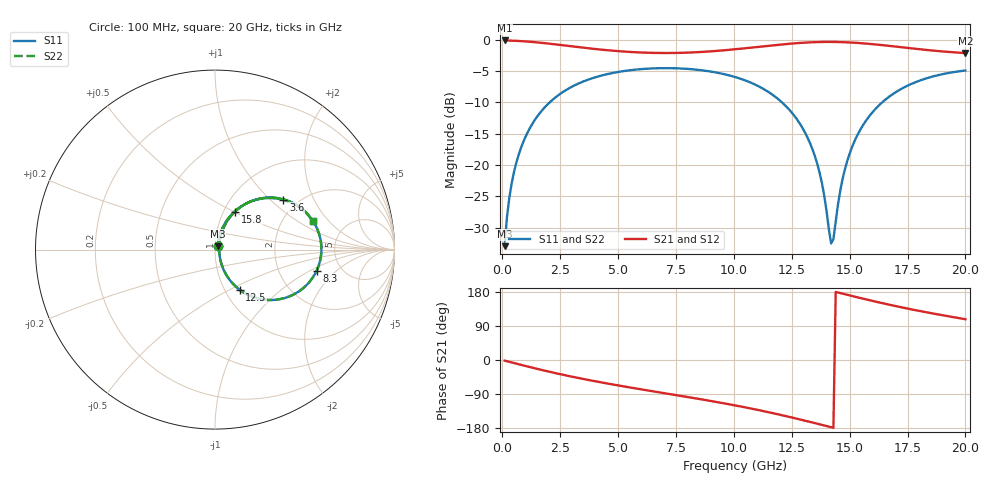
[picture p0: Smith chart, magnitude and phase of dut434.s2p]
! Touchstone file exported from HFSS 2026.1.0
!  File:  C:/ffzhzh/LocalFiles/Ansys_Project_Files/temp_train_TSV_RDL_434_1783097675_53076.aedt
!  Generated:  01:06:49 AM Jul  4, 2026
!  Design:  TSV_RDL
!  Project:  temp_train_TSV_RDL_434_1783097675_53076
! Variables:
!  h_bsmrdl = 5.33um
!  h_ox = 20um
!  h_rdl = 5um
!  h_sub = 70.5um
!  h_tmrdl = 5.68um
!  h_tsv = 70.5um
!  h_via = 3um
!  l_bsmrdl = 100.58um
!  l_sub = 4387.65um
!  l_tmrdl = 896.42um
!  m_sub = 200um
!  pitch = 59.1um
!  r_tsv = 8.34um
!  s_tmrdl = 10um
!  w_bsmrdl = 11.41um
!  w_sub = 500um
!  w_tmrdl = 22um
!  x_tsv_center1 = 907.42um
!  x_tsv_center2 = 1019.41um
!  x_tsv_center3 = 1937.83um
!  x_tsv_center4 = 2049.82um
!  x_tsv_center5 = 2968.24um
!  x_tsv_center6 = 3080.23um
# GHz S MA R 50.000000
! Terminal data exported
! Port[1] = TM_RDL1_1_T1
! Port[2] = TM_RDL5_1_T1
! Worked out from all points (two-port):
!   200 points, 100 MHz to 20 GHz, reference 50 ohm
!   highest |S21| = -0.12 dB at 100 MHz (marker M1); lowest = -2.1 dB at 20 GHz (marker M2)
!   |S21| within 3 dB of the highest: start of sweep to end of sweep
!   lowest |S11| = -33.0 dB at 100 MHz (marker M3), VSWR 1.05, Z = 51.4 + j1.8 ohm
!   |S11| at or under -10 dB: start of sweep to 2.049 GHz; 12.08 GHz to 16.41 GHz (4.33 GHz wide, 30.4 % of centre)
!   |S22| runs from -33.0 to -4.5 dB; largest |S21 - S12| = 4e-14
!   S11 on the Smith chart (normalised r, x): 100 MHz: 1.03, +0.04; 3.6 GHz: 1.69, +1.21; 8.3 GHz: 3.30, -1.16; 12.5 GHz: 1.17, -0.56; 15.8 GHz: 1.13, +0.51; 20 GHz: 2.93, +1.36
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0.1  0.02249 51.2  0.9862 -1.6  0.9862 -1.6  0.02249 51.2
! Gamma 0 0 0 0
! Port Impedance 50 0 50 0
0.2  0.03794 64.7  0.9852 -3.2  0.9852 -3.2  0.03794 64.7
0.4  0.07055 71.3  0.9826 -6.4  0.9826 -6.4  0.07055 71.3
1  0.1675 68.5  0.9693 -15.8  0.9693 -15.8  0.1675 68.5
2  0.3102 55.9  0.9312 -30.5  0.9312 -30.5  0.3102 55.9
3.5  0.4642 37.2  0.8634 -50.1  0.8634 -50.1  0.4642 37.2
3.6  0.4719 36.0  0.8592 -51.3  0.8592 -51.3  0.4719 36.0
6.8  0.5923 2.9  0.7833 -85.5  0.7833 -85.5  0.5923 3.0
8.3  0.5785 -11.7  0.793 -100.7  0.793 -100.7  0.5785 -11.6
10.1  0.5006 -30.4  0.8403 -120.3  0.8403 -120.3  0.5006 -30.4
11.5  0.3821 -46.5  0.8946 -137.8  0.8946 -137.8  0.3821 -46.5
12.5  0.2621 -58.5  0.9317 -151.7  0.9317 -151.7  0.2622 -58.5
13.4  0.1328 -66.6  0.9543 -165.0  0.9543 -165.0  0.1328 -66.5
13.8  0.0722 -63.9  0.9591 -171.1  0.9591 -171.1  0.07225 -63.8
14.2  0.02361 -10.4  0.9601 -177.3  0.9601 -177.3  0.02375 -10.4
14.3  0.02564 25.6  0.9597 -178.8  0.9597 -178.8  0.02577 25.4
14.6  0.06309 63.9  0.9572 176.6  0.9572 176.6  0.06314 63.8
14.9  0.1081 68.6  0.9526 172.0  0.9526 172.0  0.1081 68.5
15.8  0.2385 62.3  0.9282 158.6  0.9282 158.6  0.2385 62.2
16.7  0.35 51.8  0.8934 146.1  0.8934 146.1  0.35 51.8
18.2  0.4838 34.6  0.8327 127.3  0.8327 127.3  0.4839 34.6
20  0.5675 16.1  0.7825 107.6  0.7825 107.6  0.5676 16.0
